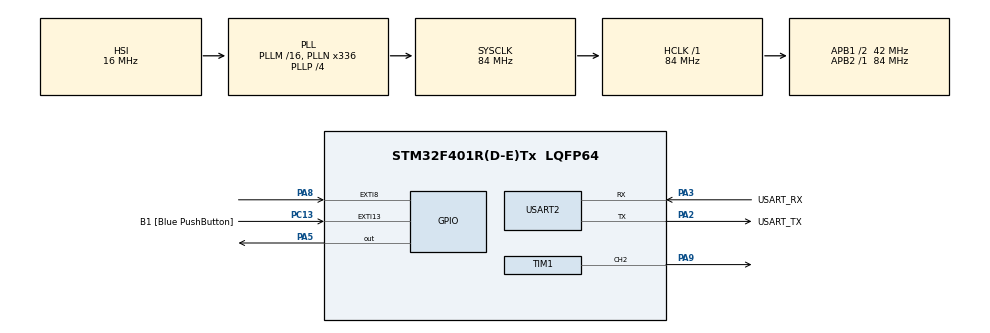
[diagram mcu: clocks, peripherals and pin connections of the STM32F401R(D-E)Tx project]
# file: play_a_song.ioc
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Mcu.Family=STM32F4
Mcu.Name=STM32F401R(D-E)Tx
Mcu.Package=LQFP64
NVIC.EXTI15_10_IRQn=true\:0\:0\:false\:false\:true\:true\:true
NVIC.EXTI9_5_IRQn=true\:0\:0\:false\:false\:true\:true\:true
NVIC.PriorityGroup=NVIC_PRIORITYGROUP_0
NVIC.TIM2_IRQn=true\:0\:0\:false\:false\:true\:true\:true
PA13.GPIO_Label=TMS
PA13.Mode=Serial_Wire
PA13.Signal=SYS_JTMS-SWDIO
PA14.GPIO_Label=TCK
PA14.Mode=Serial_Wire
PA14.Signal=SYS_JTCK-SWCLK
PA2.GPIO_Label=USART_TX
PA2.GPIO_Mode=GPIO_MODE_AF_PP
PA2.GPIO_PuPd=GPIO_NOPULL
PA2.GPIO_Speed=GPIO_SPEED_FREQ_LOW
PA2.Mode=Asynchronous
PA2.Signal=USART2_TX
PA3.GPIO_Label=USART_RX
PA3.GPIO_Mode=GPIO_MODE_AF_PP
PA3.GPIO_PuPd=GPIO_NOPULL
PA3.GPIO_Speed=GPIO_SPEED_FREQ_LOW
PA3.Mode=Asynchronous
PA3.Signal=USART2_RX
PA5.Signal=GPIO_Output
PA8.GPIO_ModeDefaultEXTI=GPIO_MODE_IT_RISING_FALLING
PA8.Signal=GPXTI8
PA9.Signal=S_TIM1_CH2
PB3.GPIO_Label=SWO
PB3.Signal=SYS_JTDO-SWO
PC13-ANTI_TAMP.GPIO_Label=B1 [Blue PushButton]
PC13-ANTI_TAMP.GPIO_ModeDefaultEXTI=GPIO_MODE_IT_RISING_FALLING
PC13-ANTI_TAMP.GPIO_PuPd=GPIO_NOPULL
PC13-ANTI_TAMP.Signal=GPXTI13
PC14-OSC32_IN.Mode=LSE-External-Oscillator
PC14-OSC32_IN.Signal=RCC_OSC32_IN
PC15-OSC32_OUT.Mode=LSE-External-Oscillator
PC15-OSC32_OUT.Signal=RCC_OSC32_OUT
PH0\ -\ OSC_IN.Mode=HSE-External-Clock-Source
PH0\ -\ OSC_IN.Signal=RCC_OSC_IN
PH1\ -\ OSC_OUT.Mode=HSE-External-Clock-Source
PH1\ -\ OSC_OUT.Signal=RCC_OSC_OUT
ProjectManager.HeapSize=0x200
ProjectManager.StackSize=0x400
ProjectManager.TargetToolchain=STM32CubeIDE
RCC.48MHZClocksFreq_Value=48000000
RCC.AHBFreq_Value=84000000
RCC.APB1CLKDivider=RCC_HCLK_DIV2
RCC.APB1Freq_Value=42000000
RCC.APB1TimFreq_Value=84000000
RCC.APB2Freq_Value=84000000
RCC.APB2TimFreq_Value=84000000
RCC.CortexFreq_Value=84000000
RCC.HCLKFreq_Value=84000000
RCC.HSE_VALUE=8000000
RCC.HSI_VALUE=16000000
RCC.PLLN=336
RCC.PLLP=RCC_PLLP_DIV4
RCC.PLLQ=7
RCC.SYSCLKFreq_VALUE=84000000
RCC.SYSCLKSource=RCC_SYSCLKSOURCE_PLLCLK
RCC.VCOOutputFreq_Value=336000000
SH.S_TIM1_CH2.0=TIM1_CH2,PWM Generation2 CH2
TIM1.Channel-PWM\ Generation2\ CH2=TIM_CHANNEL_2
TIM1.Period=1005 - 1
TIM1.Prescaler=190 - 1
TIM1.Pulse-PWM\ Generation2\ CH2=503 - 1
TIM2.Period=10000 - 1
TIM2.Prescaler=8400- 1
USART2.VirtualMode=VM_ASYNC
VP_TIM1_VS_ClockSourceINT.Mode=Internal
VP_TIM2_VS_ClockSourceINT.Mode=Internal
board=NUCLEO-F401RE

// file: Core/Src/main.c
/* USER CODE BEGIN Header */
/**
  ******************************************************************************
  * @file           : main.c
  * @brief          : Main program body
  ******************************************************************************
  * @attention
  *
  * <h2><center>&copy; Copyright (c) 2021 STMicroelectronics.
  * All rights reserved.</center></h2>
  *
  * This software component is licensed by ST under BSD 3-Clause license,
  * the "License"; You may not use this file except in compliance with the
  * License. You may obtain a copy of the License at:
  *                        opensource.org/licenses/BSD-3-Clause
  *
  ******************************************************************************
  */
/* USER CODE END Header */
#include "main.h"

/* USER CODE BEGIN PTD */
typedef struct{
	int tone;
	int duration;
}Note;
/* USER CODE END PTD */

/* USER CODE BEGIN PD */

#define BLUE_BUTTON 			GPIOC, GPIO_PIN_13
#define LED_PIN					GPIOA, GPIO_PIN_5
#define MICROPHONE				GPIOA, GPIO_PIN_8

#define TEMPO	75

#define _DO4	3205
#define _DOD4	3031
#define _RE4	2856
#define _RED4	2699
#define _MI4	2544
#define _FA4	2405
#define _FAD4	2269
#define _SOL4	2141
#define _SOLD4	2023
#define _LA4	1908
#define _LAD4	1801
#define _SI4	1699

/* USER CODE END PD */

TIM_HandleTypeDef htim1;
TIM_HandleTypeDef htim2;

UART_HandleTypeDef huart2;

/* USER CODE BEGIN PV */

int currentNote = 0; //Index of the current note to be played in the score
/*
 * LONDON BRIDGE IS FALLING DOWN
 */
Note score[] = {
		{_SOL4, 6},
		{_LA4, 2},
		{_SOL4, 4},
		{_FA4, 4},
		{_MI4, 4},
		{_FA4, 4},
		{_SOL4, 8},
		{_RE4, 4},
		{_MI4, 4},
		{_FA4, 8},
		{_MI4, 4},
		{_FA4, 4},
		{_SOL4, 8},
		{_SOL4, 6},
		{_LA4, 2},
		{_SOL4, 4},
		{_FA4, 4},
		{_MI4, 4},
		{_FA4, 4},
		{_SOL4, 8},
		{_RE4, 8},
		{_SOL4, 8},
		{_MI4, 4},
		{_DO4, 12}
};
/* USER CODE END PV */

void SystemClock_Config(void);
static void MX_GPIO_Init(void);
static void MX_USART2_UART_Init(void);
static void MX_TIM2_Init(void);
static void MX_TIM1_Init(void);

/* USER CODE BEGIN PFP */

void playnote(Note note);

/* USER CODE END PFP */

/* USER CODE BEGIN 0 */

/**
 * TIMER INTERRUPT CALLBACK
 * 	   When TIM2 elapses, it stops the PWM on TIM1 and plays the next note, until the last note is played
 */
void HAL_TIM_PeriodElapsedCallback(TIM_HandleTypeDef *htim)
{
	if (htim == &htim2) {
		HAL_TIM_PWM_Stop(&htim1, TIM_CHANNEL_2);
	    HAL_GPIO_TogglePin(LED_PIN);

	    int scoreLength = sizeof(score)/sizeof(score[0]);
	    if(currentNote < scoreLength){
		    playnote(score[currentNote]);
	    	currentNote++;
	    }
	    else{
	    	currentNote = 0;
	    	HAL_TIM_Base_Stop_IT(&htim2);
	    }
	    __HAL_TIM_CLEAR_IT(&htim2 ,TIM_IT_UPDATE); //Clears interrupt bits
//	    __HAL_TIM_SET_COUNTER(&htim2, 0);

	}
}

/**
 * EXTERNAL INTERRUPT CALLBACK
 * 	   When the microphone detects a sound, TIM2's timer starts counting
 * 	   When the button is pressed, LD2 led lights up
 */
void HAL_GPIO_EXTI_Callback(uint16_t GPIO_Pin)
{
	GPIO_PinState snapFinger;
	GPIO_PinState pushButton;

	switch (GPIO_Pin){
	case GPIO_PIN_8: 								//MICROPHONE
		snapFinger = HAL_GPIO_ReadPin(MICROPHONE);
		HAL_TIM_Base_Start_IT(&htim2); 				//TIM2 starts to count
		HAL_GPIO_WritePin(LED_PIN, snapFinger); 	//Lights up LD2
		break;
	case GPIO_PIN_13: 								//BUTTON
		pushButton = HAL_GPIO_ReadPin(BLUE_BUTTON);
		HAL_GPIO_WritePin(LED_PIN, !pushButton);
		break;
	default:
		break;
	}
}

/**
 * Sets up TIM1 and TIM2, then starts the PWM generation
 */
void playnote(Note note){
	  TIM_OC_InitTypeDef sConfigOC = {0};

	  /**
	   * TIM1 update of Period (TIM1->ARR) and Pulse (TIM1 Duty Cycle)
	   * 	For each note, we set the corresponding equivalent frequency through the TIM1->ARR peripheral register
	   * 	After the setup, PWM generation begins
	   * */
	  htim1.Instance = TIM1;
	  htim1.Init.Prescaler = 100 - 1;
	  htim1.Init.CounterMode = TIM_COUNTERMODE_UP;
	  htim1.Init.Period = note.tone;
	  htim1.Init.ClockDivision = TIM_CLOCKDIVISION_DIV1;
	  htim1.Init.RepetitionCounter = 0;
	  htim1.Init.AutoReloadPreload = TIM_AUTORELOAD_PRELOAD_DISABLE;
	  if (HAL_TIM_Base_Init(&htim1) != HAL_OK)
	  {
	    Error_Handler();
	  }
	  if (HAL_TIM_PWM_Init(&htim1) != HAL_OK)
	  {
	    Error_Handler();
	  }

	  sConfigOC.OCMode = TIM_OCMODE_PWM1;
	  sConfigOC.Pulse = note.tone / 2;
	  sConfigOC.OCPolarity = TIM_OCPOLARITY_HIGH;
	  sConfigOC.OCNPolarity = TIM_OCNPOLARITY_HIGH;
	  sConfigOC.OCFastMode = TIM_OCFAST_DISABLE;
	  sConfigOC.OCIdleState = TIM_OCIDLESTATE_RESET;
	  sConfigOC.OCNIdleState = TIM_OCNIDLESTATE_RESET;
	  if (HAL_TIM_PWM_ConfigChannel(&htim1, &sConfigOC, TIM_CHANNEL_2) != HAL_OK)
	  {
	    Error_Handler();
	  }

	  /**
	   * TIM1 update of Period (TIM1->ARR)
	   * 	For each note, we set the corresponding duration, given a constant tempo.
	   * 	The (*10) factor on the period is used to reach a frequency of 1 kHz,
	   * 	and then prescale it by duration * TEMPO
	   */
	  htim2.Instance = TIM2;
	  htim2.Init.Prescaler = 8400 - 1;
	  htim2.Init.CounterMode = TIM_COUNTERMODE_UP;
	  htim2.Init.Period = (note.duration * TEMPO * 10) - 1;
	  htim2.Init.ClockDivision = TIM_CLOCKDIVISION_DIV1;
	  htim2.Init.AutoReloadPreload = TIM_AUTORELOAD_PRELOAD_DISABLE;
	  if (HAL_TIM_Base_Init(&htim2) != HAL_OK)
	  {
	    Error_Handler();
	  }

	  HAL_TIM_PWM_Start(&htim1, TIM_CHANNEL_2);

}

/* USER CODE END 0 */

int main(void)
{

  /* MCU Configuration--------------------------------------------------------*/

  /* Reset of all peripherals, Initializes the Flash interface and the Systick. */
  HAL_Init();

  /* Configure the system clock */
  SystemClock_Config();

  /* Initialize all configured peripherals */
  MX_GPIO_Init();
  MX_USART2_UART_Init();
  MX_TIM2_Init();
  MX_TIM1_Init();

  /* Infinite loop */
  while (1)
  {

  }
}

void SystemClock_Config(void)
{
  RCC_OscInitTypeDef RCC_OscInitStruct = {0};
  RCC_ClkInitTypeDef RCC_ClkInitStruct = {0};

  /** Configure the main internal regulator output voltage
  */
  __HAL_RCC_PWR_CLK_ENABLE();
  __HAL_PWR_VOLTAGESCALING_CONFIG(PWR_REGULATOR_VOLTAGE_SCALE2);
  /** Initializes the RCC Oscillators according to the specified parameters
  * in the RCC_OscInitTypeDef structure.
  */
  RCC_OscInitStruct.OscillatorType = RCC_OSCILLATORTYPE_HSI;
  RCC_OscInitStruct.HSIState = RCC_HSI_ON;
  RCC_OscInitStruct.HSICalibrationValue = RCC_HSICALIBRATION_DEFAULT;
  RCC_OscInitStruct.PLL.PLLState = RCC_PLL_ON;
  RCC_OscInitStruct.PLL.PLLSource = RCC_PLLSOURCE_HSI;
  RCC_OscInitStruct.PLL.PLLM = 16;
  RCC_OscInitStruct.PLL.PLLN = 336;
  RCC_OscInitStruct.PLL.PLLP = RCC_PLLP_DIV4;
  RCC_OscInitStruct.PLL.PLLQ = 7;
  if (HAL_RCC_OscConfig(&RCC_OscInitStruct) != HAL_OK)
  {
    Error_Handler();
  }
  /** Initializes the CPU, AHB and APB buses clocks
  */
  RCC_ClkInitStruct.ClockType = RCC_CLOCKTYPE_HCLK|RCC_CLOCKTYPE_SYSCLK
                              |RCC_CLOCKTYPE_PCLK1|RCC_CLOCKTYPE_PCLK2;
  RCC_ClkInitStruct.SYSCLKSource = RCC_SYSCLKSOURCE_PLLCLK;
  RCC_ClkInitStruct.AHBCLKDivider = RCC_SYSCLK_DIV1;
  RCC_ClkInitStruct.APB1CLKDivider = RCC_HCLK_DIV2;
  RCC_ClkInitStruct.APB2CLKDivider = RCC_HCLK_DIV1;

  if (HAL_RCC_ClockConfig(&RCC_ClkInitStruct, FLASH_LATENCY_2) != HAL_OK)
  {
    Error_Handler();
  }
}

static void MX_TIM1_Init(void)
{

  TIM_ClockConfigTypeDef sClockSourceConfig = {0};
  TIM_MasterConfigTypeDef sMasterConfig = {0};
  TIM_OC_InitTypeDef sConfigOC = {0};
  TIM_BreakDeadTimeConfigTypeDef sBreakDeadTimeConfig = {0};

  htim1.Instance = TIM1;
  htim1.Init.Prescaler = 190 - 1;
  htim1.Init.CounterMode = TIM_COUNTERMODE_UP;
  htim1.Init.Period = 1005 - 1;
  htim1.Init.ClockDivision = TIM_CLOCKDIVISION_DIV1;
  htim1.Init.RepetitionCounter = 0;
  htim1.Init.AutoReloadPreload = TIM_AUTORELOAD_PRELOAD_DISABLE;
  if (HAL_TIM_Base_Init(&htim1) != HAL_OK)
  {
    Error_Handler();
  }
  sClockSourceConfig.ClockSource = TIM_CLOCKSOURCE_INTERNAL;
  if (HAL_TIM_ConfigClockSource(&htim1, &sClockSourceConfig) != HAL_OK)
  {
    Error_Handler();
  }
  if (HAL_TIM_PWM_Init(&htim1) != HAL_OK)
  {
    Error_Handler();
  }
  sMasterConfig.MasterOutputTrigger = TIM_TRGO_RESET;
  sMasterConfig.MasterSlaveMode = TIM_MASTERSLAVEMODE_DISABLE;
  if (HAL_TIMEx_MasterConfigSynchronization(&htim1, &sMasterConfig) != HAL_OK)
  {
    Error_Handler();
  }
  sConfigOC.OCMode = TIM_OCMODE_PWM1;
  sConfigOC.Pulse = 503 - 1;
  sConfigOC.OCPolarity = TIM_OCPOLARITY_HIGH;
  sConfigOC.OCNPolarity = TIM_OCNPOLARITY_HIGH;
  sConfigOC.OCFastMode = TIM_OCFAST_DISABLE;
  sConfigOC.OCIdleState = TIM_OCIDLESTATE_RESET;
  sConfigOC.OCNIdleState = TIM_OCNIDLESTATE_RESET;
  if (HAL_TIM_PWM_ConfigChannel(&htim1, &sConfigOC, TIM_CHANNEL_2) != HAL_OK)
  {
    Error_Handler();
  }
  sBreakDeadTimeConfig.OffStateRunMode = TIM_OSSR_DISABLE;
  sBreakDeadTimeConfig.OffStateIDLEMode = TIM_OSSI_DISABLE;
  sBreakDeadTimeConfig.LockLevel = TIM_LOCKLEVEL_OFF;
  sBreakDeadTimeConfig.DeadTime = 0;
  sBreakDeadTimeConfig.BreakState = TIM_BREAK_DISABLE;
  sBreakDeadTimeConfig.BreakPolarity = TIM_BREAKPOLARITY_HIGH;
  sBreakDeadTimeConfig.AutomaticOutput = TIM_AUTOMATICOUTPUT_DISABLE;
  if (HAL_TIMEx_ConfigBreakDeadTime(&htim1, &sBreakDeadTimeConfig) != HAL_OK)
  {
    Error_Handler();
  }
  HAL_TIM_MspPostInit(&htim1);

}

static void MX_TIM2_Init(void)
{

  TIM_ClockConfigTypeDef sClockSourceConfig = {0};
  TIM_MasterConfigTypeDef sMasterConfig = {0};

  htim2.Instance = TIM2;
  htim2.Init.Prescaler = 8400- 1;
  htim2.Init.CounterMode = TIM_COUNTERMODE_UP;
  htim2.Init.Period = 10000 - 1;
  htim2.Init.ClockDivision = TIM_CLOCKDIVISION_DIV1;
  htim2.Init.AutoReloadPreload = TIM_AUTORELOAD_PRELOAD_DISABLE;
  if (HAL_TIM_Base_Init(&htim2) != HAL_OK)
  {
    Error_Handler();
  }
  sClockSourceConfig.ClockSource = TIM_CLOCKSOURCE_INTERNAL;
  if (HAL_TIM_ConfigClockSource(&htim2, &sClockSourceConfig) != HAL_OK)
  {
    Error_Handler();
  }
  sMasterConfig.MasterOutputTrigger = TIM_TRGO_RESET;
  sMasterConfig.MasterSlaveMode = TIM_MASTERSLAVEMODE_DISABLE;
  if (HAL_TIMEx_MasterConfigSynchronization(&htim2, &sMasterConfig) != HAL_OK)
  {
    Error_Handler();
  }

}

static void MX_USART2_UART_Init(void)
{

  huart2.Instance = USART2;
  huart2.Init.BaudRate = 115200;
  huart2.Init.WordLength = UART_WORDLENGTH_8B;
  huart2.Init.StopBits = UART_STOPBITS_1;
  huart2.Init.Parity = UART_PARITY_NONE;
  huart2.Init.Mode = UART_MODE_TX_RX;
  huart2.Init.HwFlowCtl = UART_HWCONTROL_NONE;
  huart2.Init.OverSampling = UART_OVERSAMPLING_16;
  if (HAL_UART_Init(&huart2) != HAL_OK)
  {
    Error_Handler();
  }

}

static void MX_GPIO_Init(void)
{
  GPIO_InitTypeDef GPIO_InitStruct = {0};

  /* GPIO Ports Clock Enable */
  __HAL_RCC_GPIOC_CLK_ENABLE();
  __HAL_RCC_GPIOH_CLK_ENABLE();
  __HAL_RCC_GPIOA_CLK_ENABLE();
  __HAL_RCC_GPIOB_CLK_ENABLE();

  /*Configure GPIO pin Output Level */
  HAL_GPIO_WritePin(GPIOA, GPIO_PIN_5, GPIO_PIN_RESET);

  /*Configure GPIO pin : B1_Pin */
  GPIO_InitStruct.Pin = B1_Pin;
  GPIO_InitStruct.Mode = GPIO_MODE_IT_RISING_FALLING;
  GPIO_InitStruct.Pull = GPIO_NOPULL;
  HAL_GPIO_Init(B1_GPIO_Port, &GPIO_InitStruct);

  /*Configure GPIO pin : PA5 */
  GPIO_InitStruct.Pin = GPIO_PIN_5;
  GPIO_InitStruct.Mode = GPIO_MODE_OUTPUT_PP;
  GPIO_InitStruct.Pull = GPIO_NOPULL;
  GPIO_InitStruct.Speed = GPIO_SPEED_FREQ_LOW;
  HAL_GPIO_Init(GPIOA, &GPIO_InitStruct);

  /*Configure GPIO pin : PA8 */
  GPIO_InitStruct.Pin = GPIO_PIN_8;
  GPIO_InitStruct.Mode = GPIO_MODE_IT_RISING_FALLING;
  GPIO_InitStruct.Pull = GPIO_NOPULL;
  HAL_GPIO_Init(GPIOA, &GPIO_InitStruct);

  /* EXTI interrupt init*/
  HAL_NVIC_SetPriority(EXTI9_5_IRQn, 0, 0);
  HAL_NVIC_EnableIRQ(EXTI9_5_IRQn);

  HAL_NVIC_SetPriority(EXTI15_10_IRQn, 0, 0);
  HAL_NVIC_EnableIRQ(EXTI15_10_IRQn);

}

void Error_Handler(void)
{
  __disable_irq();
  while (1)
  {
  }
}

/************************ (C) COPYRIGHT STMicroelectronics *****END OF FILE****/
